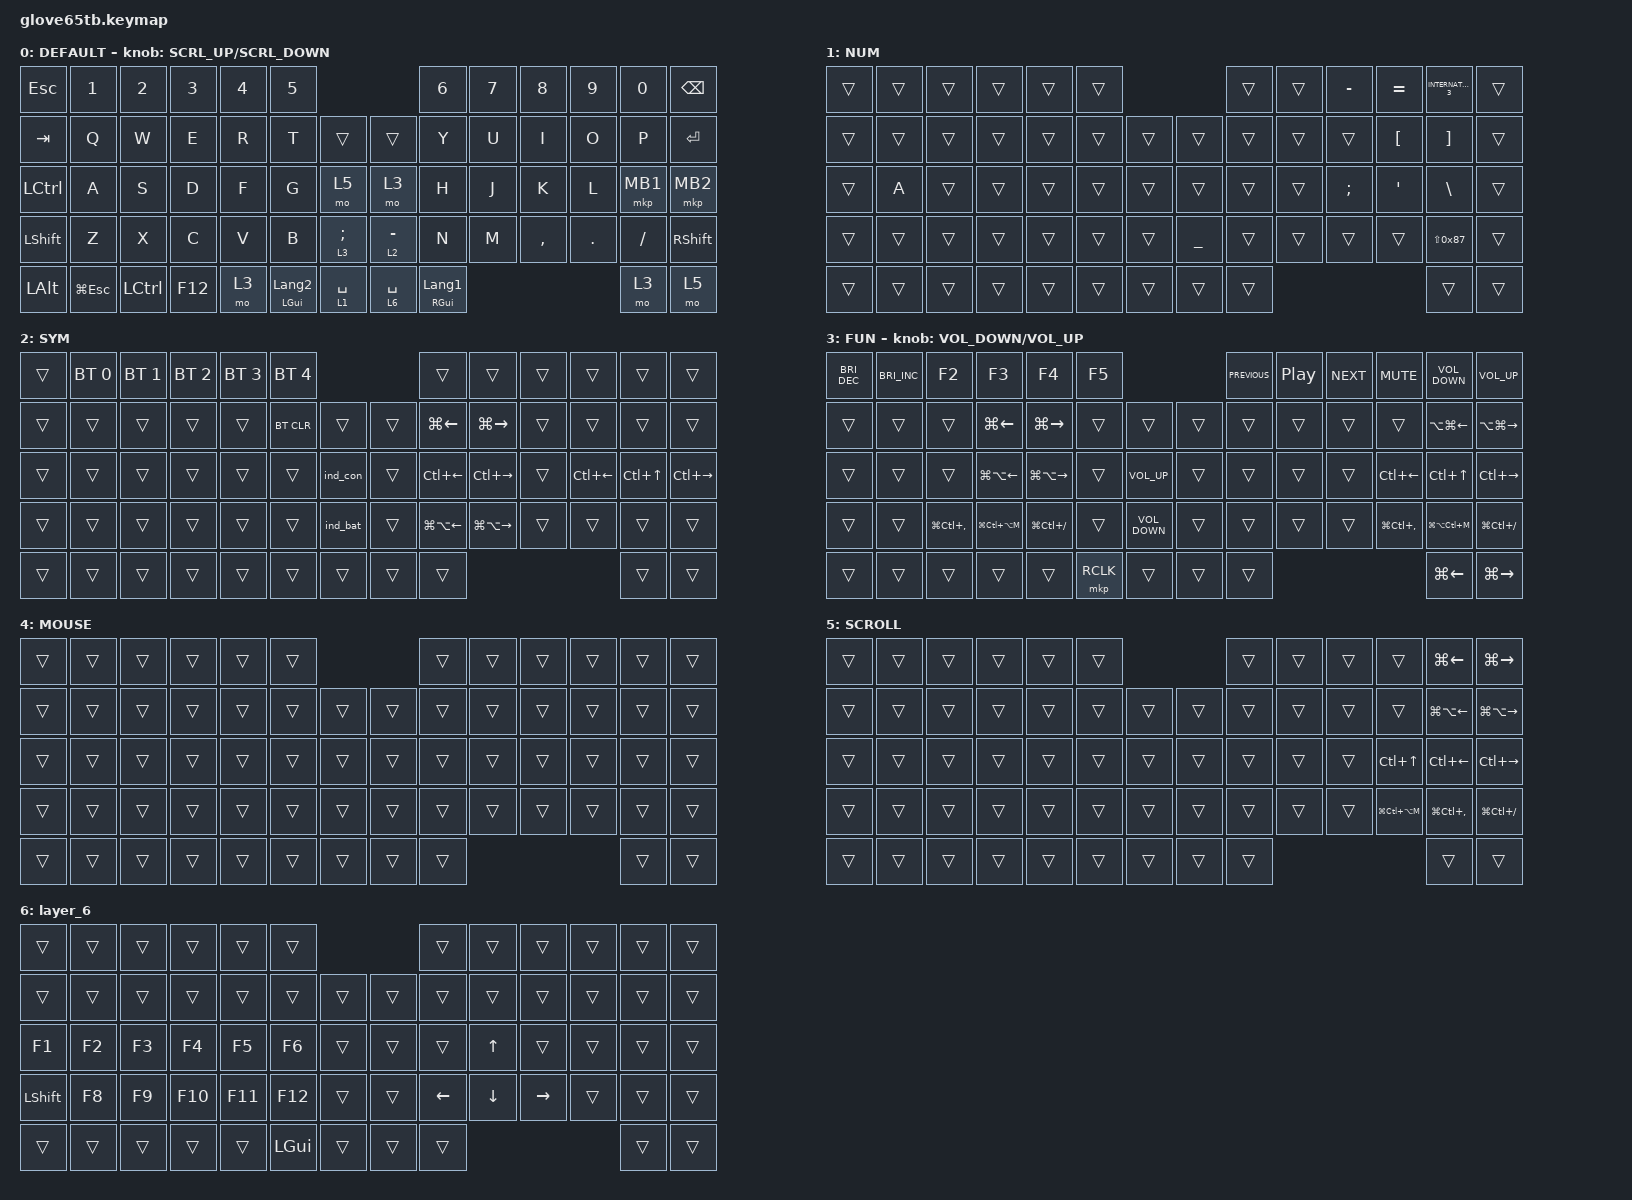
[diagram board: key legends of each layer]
#define ZMK_POINTING_DEFAULT_SCRL_VAL 150

#include <behaviors/rgbled_widget.dtsi>
#include <dt-bindings/zmk/input_transform.h>
#include <input/processors.dtsi>
#include <zephyr/dt-bindings/input/input-event-codes.h>
#include <behaviors.dtsi>
#include <dt-bindings/zmk/bt.h>
#include <dt-bindings/zmk/keys.h>
#include <dt-bindings/zmk/pointing.h>

// Layer Numbering

#define DEFAULT 0
#define NUM     1
#define SYM     2
#define FUN     3
#define MOUSE   4
#define SCROLL  5

&mmv {
    delay-ms = <20>;
    trigger-period-ms = <5>;
    time-to-max-speed-ms = <100>;
    acceleration-exponent = <2>;
};

&msc {
    delay-ms = <3>;
    trigger-period-ms = <3>;
    time-to-max-speed-ms = <100>;
    acceleration-exponent = <0>;
};

/ {
    input_processors {
        zip_wheel_scaler: zip_wheel_scaler {
            compatible = "zmk,input-processor-scaler";
            #input-processor-cells = <2>;
            type = <INPUT_EV_REL>;
            codes = <INPUT_REL_WHEEL>;
            track-remainders;
        };
    };
};

/ {
    combos {
        compatible = "zmk,combos";

        scroll {
            bindings = <&mo 5>;
            key-positions = <49 50>;
        };
    };

    behaviors {
        sensor_rotate_kp: sensor_rotate_kp {
            compatible = "zmk,behavior-sensor-rotate-var";
            #sensor-binding-cells = <2>;
            bindings = <&kp>, <&kp>;
        };

        mouse_wheel_scroll: mouse_wheel_scroll {
            compatible = "zmk,behavior-sensor-rotate-var";
            #sensor-binding-cells = <2>;
            bindings = <&msc>, <&msc>;

            tap-ms = <20>;
        };
    };

    keymap {
        compatible = "zmk,keymap";

        default_layer {
            label = "DEFAULT";
            bindings = <
&kp ESC           &kp N1          &kp N2            &kp N3   &kp N4  &kp N5                                                 &kp N6                    &kp N7  &kp N8     &kp N9   &kp N0    &kp BSPC
&kp TAB           &kp Q           &kp W             &kp E    &kp R   &kp T                    &trans           &trans       &kp Y                     &kp U   &kp I      &kp O    &kp P     &kp RET
&kp LEFT_CONTROL  &kp A           &kp S             &kp D    &kp F   &kp G                    &mo 5            &mo 3        &kp H                     &kp J   &kp K      &kp L    &mkp MB1  &mkp MB2
&kp LEFT_SHIFT    &kp Z           &kp X             &kp C    &kp V   &kp B                    &lt 3 SEMICOLON  &lt 2 MINUS  &kp N                     &kp M   &kp COMMA  &kp DOT  &kp FSLH  &kp RIGHT_SHIFT
&kp LEFT_ALT      &kp LG(ESCAPE)  &kp LEFT_CONTROL  &kp F12  &mo 3   &mt LEFT_GUI LANGUAGE_2  &lt 1 SPACE      &lt 6 SPACE  &mt RIGHT_GUI LANGUAGE_1                              &mo 3     &mo 5
            >;

            sensor-bindings = <&mouse_wheel_scroll SCRL_UP SCRL_DOWN>;
        };

        number_layer {
            label = "NUM";
            bindings = <
&trans  &trans  &trans  &trans  &trans  &trans                     &trans  &trans  &kp MINUS  &kp EQUAL         &kp INTERNATIONAL_3  &trans
&trans  &trans  &trans  &trans  &trans  &trans  &trans  &trans     &trans  &trans  &trans     &kp LEFT_BRACKET  &kp RIGHT_BRACKET    &trans
&trans  &kp A   &trans  &trans  &trans  &trans  &trans  &trans     &trans  &trans  &kp SEMI   &kp APOS          &kp BACKSLASH        &trans
&trans  &trans  &trans  &trans  &trans  &trans  &trans  &kp UNDER  &trans  &trans  &trans     &trans            &kp LS(0x87)         &trans
&trans  &trans  &trans  &trans  &trans  &trans  &trans  &trans     &trans                                       &trans               &trans
            >;
        };

        symbol_layer {
            label = "SYM";
            bindings = <
&trans  &bt BT_SEL 0  &bt BT_SEL 1  &bt BT_SEL 2  &bt BT_SEL 3  &bt BT_SEL 4                    &trans                  &trans                   &trans  &trans              &trans            &trans
&trans  &trans        &trans        &trans        &trans        &bt BT_CLR    &trans    &trans  &kp LG(LEFT_ARROW)      &kp LG(RIGHT)            &trans  &trans              &trans            &trans
&trans  &trans        &trans        &trans        &trans        &trans        &ind_con  &trans  &kp LC(LEFT_ARROW)      &kp LC(RIGHT_ARROW)      &trans  &kp LC(LEFT_ARROW)  &kp LC(UP_ARROW)  &kp LC(RIGHT_ARROW)
&trans  &trans        &trans        &trans        &trans        &trans        &ind_bat  &trans  &kp LG(LA(LEFT_ARROW))  &kp LG(LA(RIGHT_ARROW))  &trans  &trans              &trans            &trans
&trans  &trans        &trans        &trans        &trans        &trans        &trans    &trans  &trans                                                                       &trans            &trans
            >;
        };

        function_layer {
            label = "FUN";
            bindings = <
&kp C_BRIGHTNESS_DEC  &kp C_BRI_INC  &kp F2             &kp F3             &kp F4             &kp F5                                &kp C_PREVIOUS  &kp C_PLAY_PAUSE  &kp C_NEXT  &kp K_MUTE          &kp C_VOLUME_DOWN       &kp C_VOLUME_UP
&trans                &trans         &trans             &kp LG(LEFT)       &kp LG(RIGHT)      &trans     &trans             &trans  &trans          &trans            &trans      &trans              &kp LA(LG(LEFT_ARROW))  &kp LA(LG(RIGHT_ARROW))
&trans                &trans         &trans             &kp LG(LA(LEFT))   &kp LG(LA(RIGHT))  &trans     &kp C_VOLUME_UP    &trans  &trans          &trans            &trans      &kp LC(LEFT_ARROW)  &kp LC(UP_ARROW)        &kp LC(RIGHT_ARROW)
&trans                &trans         &kp LG(LC(COMMA))  &kp LG(LC(LA(M)))  &kp LG(LC(SLASH))  &trans     &kp C_VOLUME_DOWN  &trans  &trans          &trans            &trans      &kp LG(LC(COMMA))   &kp LG(LA(LC(M)))       &kp LG(LC(SLASH))
&trans                &trans         &trans             &trans             &trans             &mkp RCLK  &trans             &trans  &trans                                                            &kp LG(LEFT_ARROW)      &kp LG(RIGHT_ARROW)
            >;

            sensor-bindings = <&sensor_rotate_kp C_VOLUME_DOWN C_VOLUME_UP>;
        };

        mouse_layer {
            label = "MOUSE";
            bindings = <
&trans  &trans  &trans  &trans  &trans  &trans                  &trans  &trans  &trans  &trans  &trans  &trans
&trans  &trans  &trans  &trans  &trans  &trans  &trans  &trans  &trans  &trans  &trans  &trans  &trans  &trans
&trans  &trans  &trans  &trans  &trans  &trans  &trans  &trans  &trans  &trans  &trans  &trans  &trans  &trans
&trans  &trans  &trans  &trans  &trans  &trans  &trans  &trans  &trans  &trans  &trans  &trans  &trans  &trans
&trans  &trans  &trans  &trans  &trans  &trans  &trans  &trans  &trans                          &trans  &trans
            >;
        };

        scroll_layer {
            label = "SCROLL";
            bindings = <
&trans  &trans  &trans  &trans  &trans  &trans                  &trans  &trans  &trans  &trans             &kp LG(LEFT_ARROW)      &kp LG(RIGHT_ARROW)
&trans  &trans  &trans  &trans  &trans  &trans  &trans  &trans  &trans  &trans  &trans  &trans             &kp LG(LA(LEFT_ARROW))  &kp LG(LA(RIGHT_ARROW))
&trans  &trans  &trans  &trans  &trans  &trans  &trans  &trans  &trans  &trans  &trans  &kp LC(UP_ARROW)   &kp LC(LEFT_ARROW)      &kp LC(RIGHT_ARROW)
&trans  &trans  &trans  &trans  &trans  &trans  &trans  &trans  &trans  &trans  &trans  &kp LG(LC(LA(M)))  &kp LG(LC(COMMA))       &kp LG(LC(SLASH))
&trans  &trans  &trans  &trans  &trans  &trans  &trans  &trans  &trans                                     &trans                  &trans
            >;
        };

        layer_6 {
            bindings = <
&trans          &trans  &trans  &trans   &trans   &trans                        &trans          &trans          &trans           &trans  &trans  &trans
&trans          &trans  &trans  &trans   &trans   &trans        &trans  &trans  &trans          &trans          &trans           &trans  &trans  &trans
&kp F1          &kp F2  &kp F3  &kp F4   &kp F5   &kp F6        &trans  &trans  &trans          &kp UP_ARROW    &trans           &trans  &trans  &trans
&kp LEFT_SHIFT  &kp F8  &kp F9  &kp F10  &kp F11  &kp F12       &trans  &trans  &kp LEFT_ARROW  &kp DOWN_ARROW  &kp RIGHT_ARROW  &trans  &trans  &trans
&trans          &trans  &trans  &trans   &trans   &kp LEFT_GUI  &trans  &trans  &trans                                                   &trans  &trans
            >;
        };
    };
};
